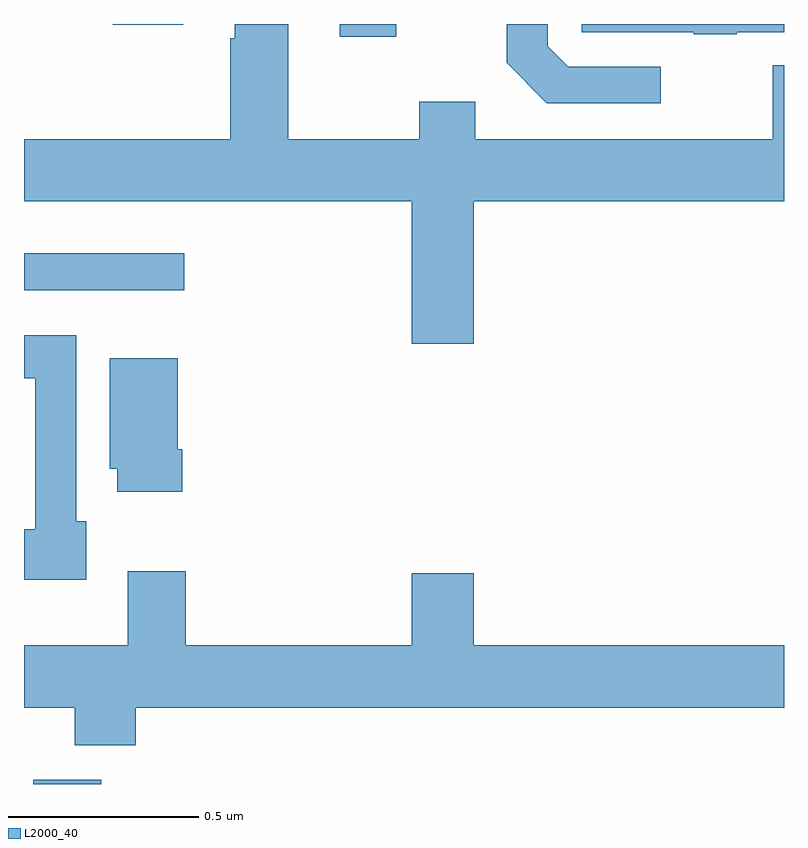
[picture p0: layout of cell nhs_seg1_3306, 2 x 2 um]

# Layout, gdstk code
import gdstk
lib = gdstk.Library(unit=1e-6, precision=1e-09)
def R(c, l, rs):  # rectangles x0, y0, x1, y1
    for r in rs: c.add(gdstk.rectangle(r[:2], r[2:], *l))
def P(c, l, *ps):  # polygons
    for p in ps: c.add(gdstk.Polygon(p, *l))
L2000_40 = (2000, 40)

nhs_seg1_3306 = lib.new_cell('nhs_seg1_3306')
R(nhs_seg1_3306, L2000_40, [(152.024,550.199,152.203,550.21), (152,551.499,152.422,551.596), (152.831,552.165,152.98,552.199), (152.234,552.197,152.419,552.199)])
P(nhs_seg1_3306, L2000_40, [(153.676,552.087),(153.432,552.087),(153.378,552.141),(153.378,552.199),(153.27,552.199),(153.27,552.097),(153.375,551.991),(153.676,551.991)],
  [(153.875,552.177),(154,552.177),(154,552.199),(153.468,552.199),(153.468,552.177),(153.763,552.177),(153.763,552.172),(153.875,552.172)],
  [(154,552.091),(153.971,552.091),(153.971,551.896),(153.187,551.896),(153.187,551.995),(153.04,551.995),(153.04,551.896),(152.695,551.896),(152.695,552.199),(152.555,552.199),(152.555,552.161),(152.543,552.161),(152.543,551.896),(152,551.896),(152,551.732),(153.02,551.732),(153.02,551.358),(153.184,551.358),(153.184,551.732),(154,551.732)],
  [(152.164,550.89),(152.137,550.89),(152.137,551.38),(152,551.38),(152,551.267),(152.03,551.267),(152.03,550.87),(152,550.87),(152,550.736),(152.164,550.736)],
  [(152.417,551.08),(152.404,551.08),(152.404,551.32),(152.225,551.32),(152.225,551.028),(152.246,551.028),(152.246,550.968),(152.417,550.968)],
  [(152.294,550.4),(154,550.4),(154,550.564),(153.184,550.564),(153.184,550.753),(153.02,550.753),(153.02,550.564),(152.426,550.564),(152.426,550.759),(152.273,550.759),(152.273,550.564),(152,550.564),(152,550.4),(152.134,550.4),(152.134,550.301),(152.294,550.301)])

lib.write_gds('nhs_seg1_3306.gds')
